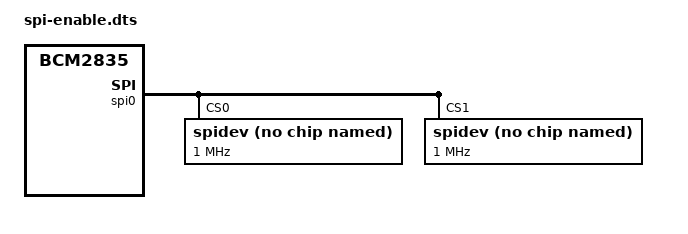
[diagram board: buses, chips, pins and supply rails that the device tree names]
/dts-v1/;
/plugin/;

/ {
    compatible = "brcm,bcm2835";
    
    fragment@0 {
        target = <&spi0>;
        __overlay__ {
            status = "okay";
            pinctrl-names = "default";
            pinctrl-0 = <&spi0_pins>;
            
            spidev@0 {
                compatible = "spidev";
                reg = <0>;
                #address-cells = <1>;
                #size-cells = <0>;
                spi-max-frequency = <1000000>;
            };
            
            spidev@1 {
                compatible = "spidev";
                reg = <1>;
                #address-cells = <1>;
                #size-cells = <0>;
                spi-max-frequency = <1000000>;
            };
        };
    };

    fragment@1 {
        target = <&gpio>;
        __overlay__ {
            spi0_pins: spi0_pins {
                brcm,pins = <9 10 11>;
                brcm,function = <4>; /* ALT0 */
            };
        };
    };
};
